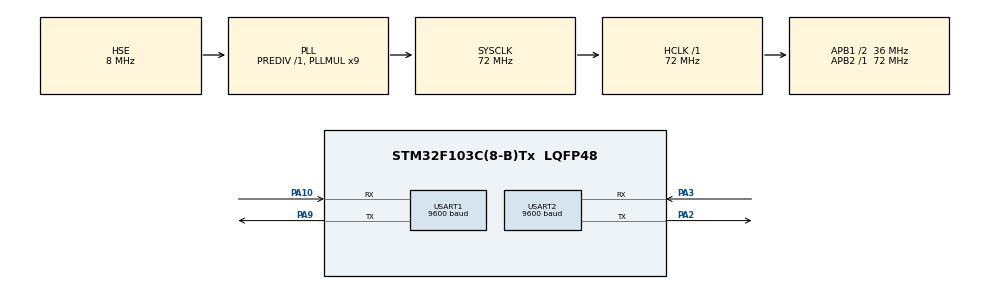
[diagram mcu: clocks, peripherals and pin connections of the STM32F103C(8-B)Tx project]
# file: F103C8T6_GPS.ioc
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Mcu.Family=STM32F1
Mcu.Name=STM32F103C(8-B)Tx
Mcu.Package=LQFP48
NVIC.PriorityGroup=NVIC_PRIORITYGROUP_4
NVIC.USART1_IRQn=true\:0\:0\:false\:false\:true\:true\:true\:true
NVIC.USART2_IRQn=true\:0\:0\:false\:false\:true\:true\:true\:true
PA10.Mode=Asynchronous
PA10.Signal=USART1_RX
PA13.Mode=Serial_Wire
PA13.Signal=SYS_JTMS-SWDIO
PA14.Mode=Serial_Wire
PA14.Signal=SYS_JTCK-SWCLK
PA2.Mode=Asynchronous
PA2.Signal=USART2_TX
PA3.Mode=Asynchronous
PA3.Signal=USART2_RX
PA9.Mode=Asynchronous
PA9.Signal=USART1_TX
PC14-OSC32_IN.Mode=LSE-External-Oscillator
PC14-OSC32_IN.Signal=RCC_OSC32_IN
PC15-OSC32_OUT.Mode=LSE-External-Oscillator
PC15-OSC32_OUT.Signal=RCC_OSC32_OUT
PD0-OSC_IN.Mode=HSE-External-Oscillator
PD0-OSC_IN.Signal=RCC_OSC_IN
PD1-OSC_OUT.Mode=HSE-External-Oscillator
PD1-OSC_OUT.Signal=RCC_OSC_OUT
ProjectManager.HeapSize=0x200
ProjectManager.StackSize=0x400
ProjectManager.TargetToolchain=STM32CubeIDE
RCC.AHBFreq_Value=72000000
RCC.APB1CLKDivider=RCC_HCLK_DIV2
RCC.APB1Freq_Value=36000000
RCC.APB1TimFreq_Value=72000000
RCC.APB2Freq_Value=72000000
RCC.APB2TimFreq_Value=72000000
RCC.HCLKFreq_Value=72000000
RCC.PLLMUL=RCC_PLL_MUL9
RCC.PLLSourceVirtual=RCC_PLLSOURCE_HSE
RCC.SYSCLKFreq_VALUE=72000000
RCC.SYSCLKSource=RCC_SYSCLKSOURCE_PLLCLK
RCC.USBFreq_Value=72000000
USART1.BaudRate=9600
USART1.VirtualMode=VM_ASYNC
USART2.BaudRate=9600
USART2.VirtualMode=VM_ASYNC
board=custom

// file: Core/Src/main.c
/* USER CODE BEGIN Header */
/**
 ******************************************************************************
 * @file           : main.c
 * @brief          : Main program body
 ******************************************************************************
 * @attention
 *
 * Copyright (c) 2025 STMicroelectronics.
 * All rights reserved.
 *
 * This software is licensed under terms that can be found in the LICENSE file
 * in the root directory of this software component.
 * If no LICENSE file comes with this software, it is provided AS-IS.
 *
 ******************************************************************************
 */
/* USER CODE END Header */
#include "main.h"

/* USER CODE BEGIN Includes */
#include <string.h>
#include <stdio.h>
#include <stdlib.h>
/* USER CODE END Includes */

/* USER CODE BEGIN PTD */
#define GPS_LINE_MAX 128
/* USER CODE END PTD */

UART_HandleTypeDef huart1;
UART_HandleTypeDef huart2;

void SystemClock_Config(void);
static void MX_GPIO_Init(void);
static void MX_USART1_UART_Init(void);
static void MX_USART2_UART_Init(void);
/* USER CODE BEGIN PFP */
volatile char gps_line[GPS_LINE_MAX];
volatile uint16_t gps_idx = 0;
volatile uint8_t gps_ready = 0;
char latitude[16] = "NA";
char longitude[16] = "NA";
char gps_c; // single byte storage
char uart_buf[256];

/* USER CODE END PFP */

/* USER CODE BEGIN 0 */
void HAL_UART_RxCpltCallback(UART_HandleTypeDef *huart) {
	if (huart->Instance == USART2) {
		// Store received byte in gps_line buffer
		if (gps_c == '\n' || gps_c == '\r') {
			if (gps_idx > 0) {
				gps_line[gps_idx] = '\0';
				gps_idx = 0;
				gps_ready = 1;
			}
		} else {
			if (gps_idx < GPS_LINE_MAX - 1)
				gps_line[gps_idx++] = gps_c;
			else
				gps_idx = 0; // overflow
		}

		// Restart interrupt for next byte
		HAL_UART_Receive_IT(&huart2, (uint8_t*) &gps_c, 1);
	}
}
void parse_GPRMC(void) {
	if (strstr((char*) gps_line, "$GPRMC")) {
		char *fields[12] = { 0 };
		int j = 0;
		char buf[128];
		strcpy(buf, (char*) gps_line);

		char *token = strtok(buf, ",");
		while (token && j < 12) {
			fields[j++] = token;
			token = strtok(NULL, ",");
		}

		if (j >= 6 && fields[3] && fields[5]) {
			float raw_lat = atof(fields[3]);
			float raw_lon = atof(fields[5]);

			int lat_deg = (int) (raw_lat / 100);
			int lon_deg = (int) (raw_lon / 100);
			float lat_min = raw_lat - lat_deg * 100;
			float lon_min = raw_lon - lon_deg * 100;

			float lat_dec = lat_deg + lat_min / 60.0f;
			float lon_dec = lon_deg + lon_min / 60.0f;

			snprintf(latitude, sizeof(latitude), "%.5f%s", lat_dec, fields[4]);
			snprintf(longitude, sizeof(longitude), "%.5f%s", lon_dec,
					fields[6]);
		}
	}
}
/* USER CODE END 0 */

int main(void) {

	/* MCU Configuration--------------------------------------------------------*/

	/* Reset of all peripherals, Initializes the Flash interface and the Systick. */
	HAL_Init();

	/* Configure the system clock */
	SystemClock_Config();

	/* Initialize all configured peripherals */
	MX_GPIO_Init();
	MX_USART1_UART_Init();
	MX_USART2_UART_Init();
	/* USER CODE BEGIN 2 */

	// Start receiving 1 byte interrupt for GPS
	HAL_UART_Receive_IT(&huart2, (uint8_t*) &gps_c, 1);

	/* USER CODE END 2 */

	/* Infinite loop */
	while (1) {

		/* USER CODE BEGIN 3 */
		if (gps_ready) {
			gps_ready = 0;

			// Print full GPRMC line
			snprintf(uart_buf, sizeof(uart_buf), "Full GPRMC: %s\r\n",
					gps_line);
			HAL_UART_Transmit(&huart1, (uint8_t*) uart_buf, strlen(uart_buf),
			HAL_MAX_DELAY);

			// Parse latitude and longitude
			parse_GPRMC();

			snprintf(uart_buf, sizeof(uart_buf),
					"Latitude: %s, Longitude: %s\r\n", latitude, longitude);
			HAL_UART_Transmit(&huart1, (uint8_t*) uart_buf, strlen(uart_buf),
			HAL_MAX_DELAY);
		}
	}
}
/* USER CODE END 3 */

void SystemClock_Config(void) {
	RCC_OscInitTypeDef RCC_OscInitStruct = { 0 };
	RCC_ClkInitTypeDef RCC_ClkInitStruct = { 0 };

	/** Initializes the RCC Oscillators according to the specified parameters
	 * in the RCC_OscInitTypeDef structure.
	 */
	RCC_OscInitStruct.OscillatorType = RCC_OSCILLATORTYPE_HSE;
	RCC_OscInitStruct.HSEState = RCC_HSE_ON;
	RCC_OscInitStruct.HSEPredivValue = RCC_HSE_PREDIV_DIV1;
	RCC_OscInitStruct.HSIState = RCC_HSI_ON;
	RCC_OscInitStruct.PLL.PLLState = RCC_PLL_ON;
	RCC_OscInitStruct.PLL.PLLSource = RCC_PLLSOURCE_HSE;
	RCC_OscInitStruct.PLL.PLLMUL = RCC_PLL_MUL9;
	if (HAL_RCC_OscConfig(&RCC_OscInitStruct) != HAL_OK) {
		Error_Handler();
	}

	/** Initializes the CPU, AHB and APB buses clocks
	 */
	RCC_ClkInitStruct.ClockType = RCC_CLOCKTYPE_HCLK | RCC_CLOCKTYPE_SYSCLK
			| RCC_CLOCKTYPE_PCLK1 | RCC_CLOCKTYPE_PCLK2;
	RCC_ClkInitStruct.SYSCLKSource = RCC_SYSCLKSOURCE_PLLCLK;
	RCC_ClkInitStruct.AHBCLKDivider = RCC_SYSCLK_DIV1;
	RCC_ClkInitStruct.APB1CLKDivider = RCC_HCLK_DIV2;
	RCC_ClkInitStruct.APB2CLKDivider = RCC_HCLK_DIV1;

	if (HAL_RCC_ClockConfig(&RCC_ClkInitStruct, FLASH_LATENCY_2) != HAL_OK) {
		Error_Handler();
	}
}

static void MX_USART1_UART_Init(void) {

	huart1.Instance = USART1;
	huart1.Init.BaudRate = 9600;
	huart1.Init.WordLength = UART_WORDLENGTH_8B;
	huart1.Init.StopBits = UART_STOPBITS_1;
	huart1.Init.Parity = UART_PARITY_NONE;
	huart1.Init.Mode = UART_MODE_TX_RX;
	huart1.Init.HwFlowCtl = UART_HWCONTROL_NONE;
	huart1.Init.OverSampling = UART_OVERSAMPLING_16;
	if (HAL_UART_Init(&huart1) != HAL_OK) {
		Error_Handler();
	}

}

static void MX_USART2_UART_Init(void) {

	huart2.Instance = USART2;
	huart2.Init.BaudRate = 9600;
	huart2.Init.WordLength = UART_WORDLENGTH_8B;
	huart2.Init.StopBits = UART_STOPBITS_1;
	huart2.Init.Parity = UART_PARITY_NONE;
	huart2.Init.Mode = UART_MODE_TX_RX;
	huart2.Init.HwFlowCtl = UART_HWCONTROL_NONE;
	huart2.Init.OverSampling = UART_OVERSAMPLING_16;
	if (HAL_UART_Init(&huart2) != HAL_OK) {
		Error_Handler();
	}

}

static void MX_GPIO_Init(void) {

	/* GPIO Ports Clock Enable */
	__HAL_RCC_GPIOC_CLK_ENABLE();
	__HAL_RCC_GPIOD_CLK_ENABLE();
	__HAL_RCC_GPIOA_CLK_ENABLE();

}

void Error_Handler(void) {
	__disable_irq();
	while (1) {
	}
}
